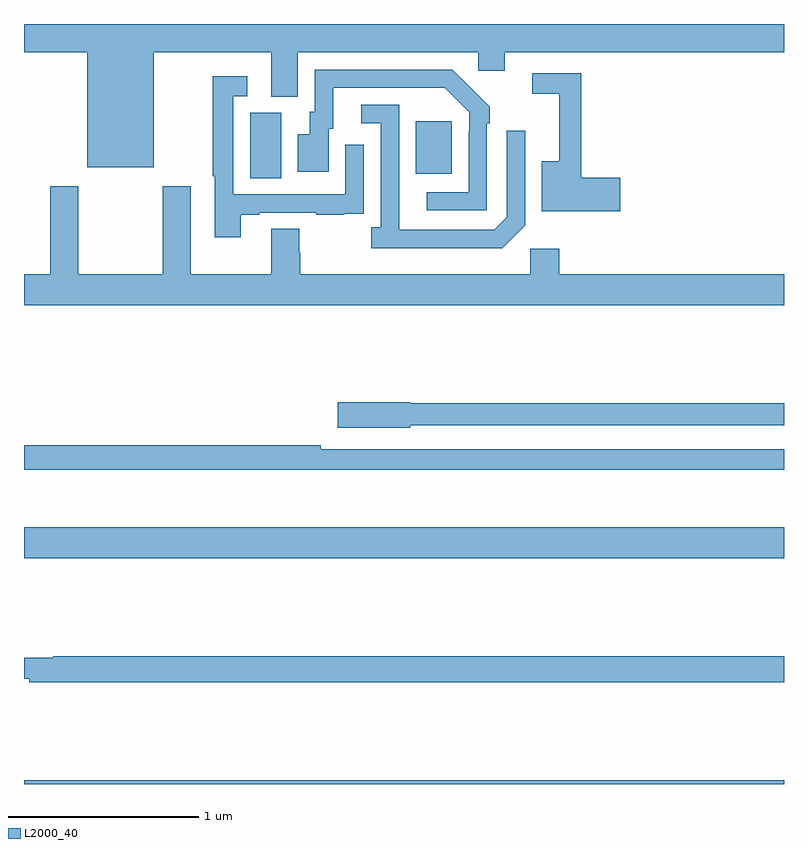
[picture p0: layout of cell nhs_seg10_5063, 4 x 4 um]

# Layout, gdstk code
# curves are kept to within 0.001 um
import gdstk
lib = gdstk.Library(unit=1e-6, precision=1e-09)
def R(c, l, rs):  # rectangles x0, y0, x1, y1
    for r in rs: c.add(gdstk.rectangle(r[:2], r[2:], *l))
def P(c, l, *ps):  # polygons
    for p in ps: c.add(gdstk.Polygon(p, *l))
L2000_40 = (2000, 40)

nhs_seg10_5063 = lib.new_cell('nhs_seg10_5063')
R(nhs_seg10_5063, L2000_40, [(405,1260.5,409,1260.52), (405,1261.688,409,1261.852), (406.19,1263.688,406.354,1264.032), (407.063,1263.713,407.251,1263.988)])
P(nhs_seg10_5063, L2000_40, [(405.682,1264.352),(406.301,1264.352),(406.301,1264.117),(406.441,1264.117),(406.441,1264.352),(407.391,1264.352),(407.391,1264.254),(407.53,1264.254),(407.53,1264.352),(409,1264.352),(409,1264.5),(405,1264.5),(405,1264.352),(405.332,1264.352),(405.332,1263.746),(405.682,1263.746)],
  [(407.436,1263.977),(407.451,1263.977),(407.451,1264.065),(407.254,1264.26),(406.53,1264.26),(406.53,1264.038),(406.505,1264.038),(406.505,1263.919),(406.442,1263.919),(406.442,1263.723),(406.603,1263.723),(406.603,1263.948),(406.627,1263.948),(406.627,1264.164),(407.215,1264.164),(407.343,1264.035),(407.343,1263.935),(407.34,1263.935),(407.34,1263.615),(407.121,1263.615),(407.121,1263.519),(407.436,1263.519)],
  [(408.139,1263.692),(407.933,1263.692),(407.933,1264.242),(407.676,1264.242),(407.676,1264.134),(407.816,1264.134),(407.816,1263.778),(407.726,1263.778),(407.726,1263.514),(408.139,1263.514)],
  [(406.141,1263.495),(406.237,1263.495),(406.237,1263.507),(406.537,1263.507),(406.537,1263.495),(406.685,1263.495),(406.685,1263.501),(406.787,1263.501),(406.787,1263.61),(406.788,1263.61),(406.788,1263.865),(406.692,1263.865),(406.692,1263.603),(406.101,1263.603),(406.101,1264.119),(406.174,1264.119),(406.174,1264.225),(405.993,1264.225),(405.993,1263.7),(406.005,1263.7),(406.005,1263.378),(406.141,1263.378)],
  [(407.637,1263.441),(407.637,1263.937),(407.541,1263.937),(407.541,1263.483),(407.475,1263.417),(406.975,1263.417),(406.974,1264.074),(406.776,1264.074),(406.776,1263.978),(406.878,1263.978),(406.878,1263.43),(406.827,1263.43),(406.827,1263.32),(407.516,1263.32)],
  [(409,1263.184),(407.816,1263.184),(407.816,1263.316),(407.664,1263.316),(407.664,1263.184),(406.454,1263.184),(406.454,1263.297),(406.449,1263.297),(406.449,1263.422),(406.301,1263.422),(406.301,1263.184),(405.877,1263.184),(405.877,1263.646),(405.73,1263.646),(405.73,1263.184),(405.285,1263.184),(405.285,1263.646),(405.137,1263.646),(405.137,1263.184),(405,1263.184),(405,1263.02),(409,1263.02)],
  [(407.034,1262.388),(409,1262.388),(409,1262.504),(407.034,1262.504),(407.034,1262.51),(406.65,1262.51),(406.65,1262.375),(407.034,1262.375)],
  [(409,1262.262),(406.562,1262.262),(406.562,1262.282),(405,1262.282),(405,1262.154),(409,1262.154)],
  [(409,1261.172),(405.155,1261.172),(405.155,1261.165),(405,1261.165),(405,1261.055),(405.028,1261.055),(405.028,1261.036),(409,1261.036)])

lib.write_gds('nhs_seg10_5063.gds')
